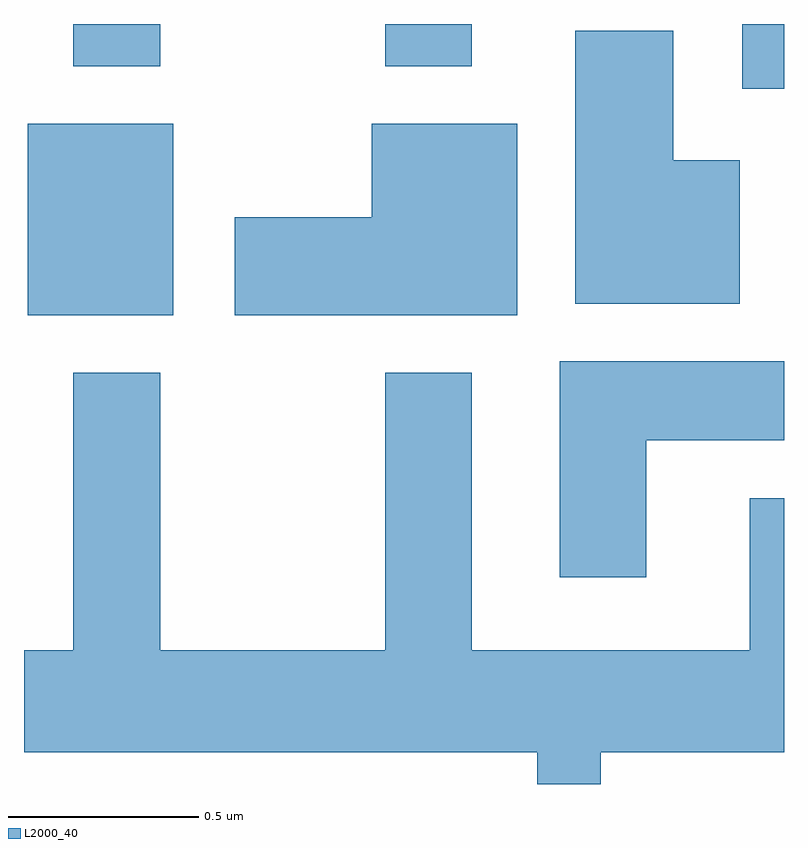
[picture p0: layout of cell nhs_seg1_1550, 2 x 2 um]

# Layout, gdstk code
import gdstk
lib = gdstk.Library(unit=1e-6, precision=1e-09)
def R(c, l, rs):  # rectangles x0, y0, x1, y1
    for r in rs: c.add(gdstk.rectangle(r[:2], r[2:], *l))
def P(c, l, *ps):  # polygons
    for p in ps: c.add(gdstk.Polygon(p, *l))
L2000_40 = (2000, 40)

nhs_seg1_1550 = lib.new_cell('nhs_seg1_1550')
R(nhs_seg1_1550, L2000_40, [(196.621,902.946,197.004,903.449), (198.501,903.541,198.611,903.712), (196.741,903.601,196.969,903.712), (197.561,903.601,197.789,903.712)])
P(nhs_seg1_1550, L2000_40, [(198.494,903.354),(198.319,903.354),(198.319,903.694),(198.061,903.694),(198.061,902.976),(198.494,902.976)],
  [(197.909,903.449),(197.526,903.449),(197.526,903.204),(197.166,903.204),(197.166,902.946),(197.909,902.946)],
  [(198.249,902.616),(198.611,902.616),(198.611,902.824),(198.021,902.824),(198.021,902.256),(198.249,902.256)],
  [(198.129,901.796),(198.611,901.796),(198.611,902.464),(198.521,902.464),(198.521,902.064),(197.789,902.064),(197.789,902.794),(197.561,902.794),(197.561,902.064),(196.969,902.064),(196.969,902.794),(196.741,902.794),(196.741,902.064),(196.611,902.064),(196.611,901.796),(197.961,901.796),(197.961,901.712),(198.129,901.712)])

lib.write_gds('nhs_seg1_1550.gds')
